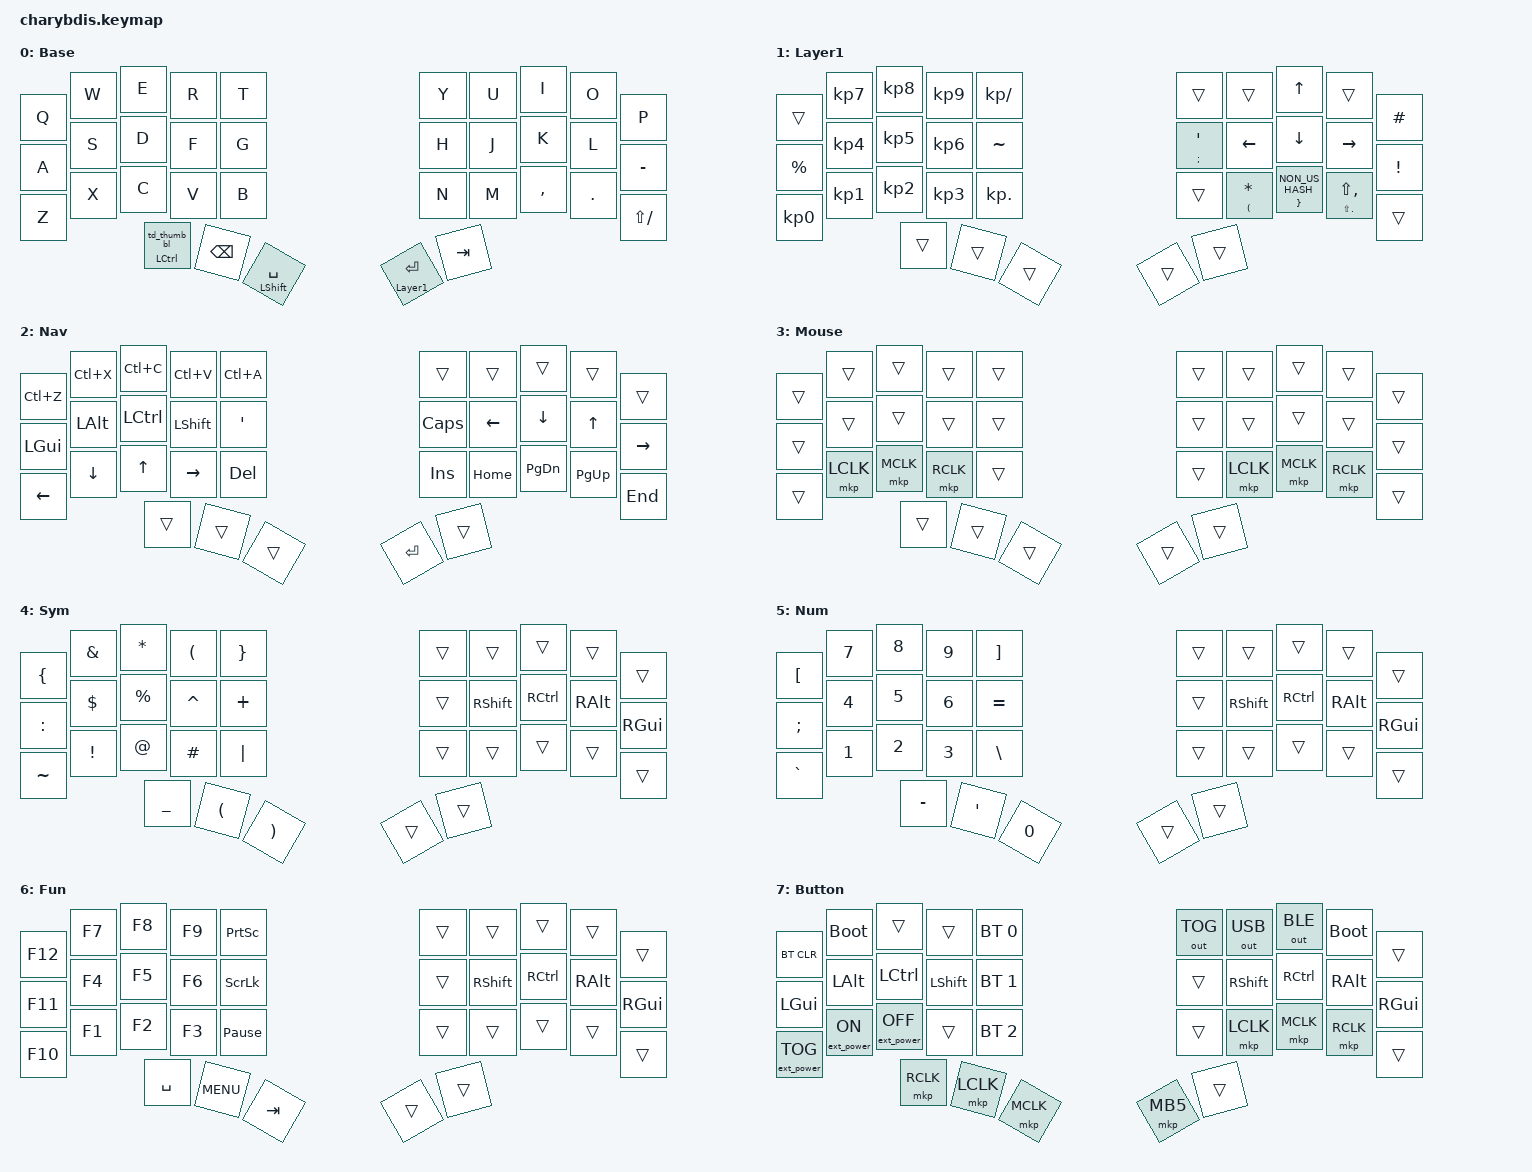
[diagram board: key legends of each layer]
#include <behaviors.dtsi>
#include <dt-bindings/zmk/keys.h>
#include <dt-bindings/zmk/bt.h>
#include <dt-bindings/zmk/ext_power.h>
#include <dt-bindings/zmk/mouse.h>
#include <dt-bindings/zmk/outputs.h>
#include <input/processors.dtsi>
#include <dt-bindings/zmk/input_transform.h>

#define Base 0
#define Layer1 1
#define Nav 2
#define Mouse 3
#define Sym 4
#define Num 5
#define Fun 6
#define Button 7

&trackball_listener {
        snipe {
            layers = <Mouse>;
            input-processors = <&zip_xy_scaler 1 3>;
        };

        scroll {
            layers = <Nav>;
            input-processors = <&zip_xy_scaler 1 150>, <&zip_xy_to_scroll_mapper>, <&zip_scroll_transform (INPUT_TRANSFORM_Y_INVERT)>;
        };
};

/ {
    behaviors {
        hm: homerow_mods {
            compatible = "zmk,behavior-hold-tap";
            #binding-cells = <2>;
            flavor = "tap-preferred";
            tapping-term-ms = <240>;
            quick-tap-ms = <150>;
            bindings =
                <&kp>,
                <&kp>;
        };

        td_thumb_bl: tap_dance_thumb_bl {
            compatible = "zmk,behavior-tap-dance";
            #binding-cells = <0>;
            tapping-term-ms = <350>;
            bindings = <&kp LC(SPACE)>, <&kp LC(ENTER)>;
        };

        htd_thumb_bl: hold_tap_dance_thumb_bl {
            compatible = "zmk,behavior-hold-tap";
            #binding-cells = <2>;
            flavor = "tap-preferred";
            tapping-term-ms = <240>;
            quick-tap-ms = <150>;
            bindings =
                <&kp>,
                <&td_thumb_bl>;
        };

        lt: layer_tap {
            compatible = "zmk,behavior-hold-tap";
            #binding-cells = <2>;
            flavor = "balanced";
            tapping-term-ms = <240>;
            quick-tap-ms = <150>;
            bindings =
                <&mo>,
                <&kp>;
        };
    };

chosen {
    zmk,physical-layout = &charybdis_5col_layout;
};

combos {
        compatible = "zmk,combos";
        timeout-ms = <50>;

        combo_left_click {
            key-positions = <16 17>;
            bindings = <&mkp LCLK>;
        };

        combo_right_click {
            key-positions = <17 18>;
            bindings = <&mkp RCLK>;
        };

        combo_middle_click {
            key-positions = <16 18>;
            bindings = <&mkp MCLK>;
        };

        combo_scroll {
            key-positions = <16 17 18>;
            bindings = <&mo Nav>;
        };

        combo_cut {
            key-positions = <26 27>;
            bindings = <&kp LC(X)>;
        };

        combo_paste {
            key-positions = <27 28>;
            bindings = <&kp LC(V)>;
        };

        combo_copy {
            key-positions = <6 7>;
            bindings = <&kp LC(C)>;
        };

        combo_plus {
            key-positions = <12 13>;
            bindings = <&kp KP_PLUS>;
        };

        combo_minus {
            key-positions = <22 23>;
            bindings = <&kp KP_MINUS>;
        };

        combo_alt_f4 {
            key-positions = <26 27 28>;
            bindings = <&kp LA(F4)>;
        };

        combo_win_tab {
            key-positions = <6 7 8>;
            bindings = <&kp LG(TAB)>;
        };

        combo_bt_clear {
            key-positions = <0 10 20>;
            bindings = <&bt BT_CLR>;
        };

        combo_bt_sel_0 {
            key-positions = <0 1>;
            bindings = <&bt BT_SEL 0>;
        };

        combo_bt_sel_1 {
            key-positions = <10 11>;
            bindings = <&bt BT_SEL 1>;
        };

        combo_bt_sel_2 {
            key-positions = <20 21>;
            bindings = <&bt BT_SEL 2>;
        };
    };
    keymap {
        compatible = "zmk,keymap";

        Base {
            bindings = <
            &kp Q       &kp W       &kp E         &kp R         &kp T                       &kp Y        &kp U        &kp I       &kp O               &kp P
            &kp A  &kp S  &kp D   &kp F  &kp G                       &kp H  &kp J  &kp K  &kp L  &kp MINUS
            &kp Z       &kp X       &kp C         &kp V         &kp B                       &kp N        &kp M    &kp COMMA     &kp DOT         &kp LS(SLASH)
                                    &htd_thumb_bl LCTRL 0  &kp BACKSPACE     &hm LSHFT SPACE       &lt Layer1 ENTER  &kp TAB
            >;
        };

        Layer1 {
            bindings = <
            &trans          &kp KP_N7  &kp KP_N8  &kp KP_N9  &kp KP_SLASH               &trans      &trans     &kp UP    &trans           &kp HASH
            &kp PERCENT     &kp KP_N4  &kp KP_N5  &kp KP_N6  &kp TILDE               &hm SEMICOLON SQT  &kp LEFT  &kp DOWN  &kp RIGHT  &kp EXCL
            &kp KP_N0    &kp KP_N1  &kp KP_N2  &kp KP_N3  &kp KP_DOT                 &trans      &hm LEFT_PARENTHESIS ASTERISK     &hm RIGHT_BRACE NON_US_HASH    &hm LS(DOT) LS(COMMA)    &trans
                                          &trans          &trans      &trans          &trans  &trans
            >;
        };

        Nav {
            bindings = <
            &kp LC(Z)     &kp LC(X)   &kp LC(C)   &kp LC(V)   &kp LC(A)                     &trans     &trans         &trans       &trans       &trans
            &kp LEFT_GUI  &kp LALT    &kp LCTRL   &kp LSHIFT  &kp SQT                     &kp CAPS   &kp LEFT       &kp DOWN       &kp UP    &kp RIGHT
            &kp LEFT      &kp DOWN    &kp UP      &kp RIGHT   &kp DELETE                &kp INSERT   &kp HOME  &kp PAGE_DOWN  &kp PAGE_UP      &kp END
                                      &trans      &trans      &trans                    &kp ENTER  &trans
            >;
        };

        Mouse {
            bindings = <
            &trans    &trans      &trans      &trans      &trans              &trans         &trans     &trans     &trans  &trans
            &trans    &trans      &trans      &trans      &trans              &trans         &trans     &trans     &trans  &trans
            &trans    &mkp LCLK   &mkp MCLK   &mkp RCLK   &trans              &trans      &mkp LCLK  &mkp MCLK  &mkp RCLK  &trans
                                  &trans      &trans      &trans              &trans         &trans
            >;
        };

        Sym {
            bindings = <
            &kp LEFT_BRACE  &kp AMPERSAND  &kp ASTERISK          &kp LEFT_PARENTHESIS   &kp RIGHT_BRACE       &trans      &trans     &trans    &trans    &trans
            &kp COLON       &kp DOLLAR     &kp PERCENT           &kp CARET              &kp PLUS              &trans  &kp RSHIFT  &kp RCTRL  &kp RALT  &kp RGUI
            &kp TILDE       &kp EXCL       &kp AT                &kp HASH               &kp PIPE              &trans      &trans     &trans    &trans    &trans
                                           &kp UNDERSCORE  &kp LEFT_PARENTHESIS  &kp RIGHT_PARENTHESIS        &trans      &trans
            >;
        };

        Num {
            bindings = <
            &kp LEFT_BRACKET  &kp NUMBER_7  &kp NUMBER_8  &kp NUMBER_9  &kp RIGHT_BRACKET       &trans      &trans     &trans    &trans    &trans
            &kp SEMICOLON     &kp NUMBER_4  &kp NUMBER_5  &kp NUMBER_6  &kp EQUAL               &trans  &kp RSHIFT  &kp RCTRL  &kp RALT  &kp RGUI
            &kp GRAVE         &kp NUMBER_1  &kp NUMBER_2  &kp NUMBER_3  &kp BACKSLASH           &trans      &trans     &trans    &trans    &trans
                                            &kp MINUS       &kp SQT  &kp NUMBER_0               &trans      &trans
            >;
        };

        Fun {
            bindings = <
            &kp F12     &kp F7   &kp F8      &kp F9   &kp PRINTSCREEN          &trans      &trans     &trans    &trans    &trans
            &kp F11     &kp F4   &kp F5      &kp F6   &kp SCROLLLOCK           &trans  &kp RSHIFT  &kp RCTRL  &kp RALT  &kp RGUI
            &kp F10     &kp F1   &kp F2      &kp F3   &kp PAUSE_BREAK          &trans      &trans     &trans    &trans    &trans
                                 &kp SPACE  &kp C_MENU  &kp TAB                &trans      &trans
            >;
        };

        Button {
            bindings = <
            &bt BT_CLR            &bootloader         &trans              &trans          &bt BT_SEL 0       &out OUT_TOG  &out OUT_USB   &out OUT_BLE  &bootloader    &trans
            &kp LGUI              &kp LALT            &kp LCTRL           &kp LSHIFT      &bt BT_SEL 1             &trans    &kp RSHIFT      &kp RCTRL     &kp RALT  &kp RGUI
            &ext_power EP_TOG     &ext_power EP_ON    &ext_power EP_OFF   &trans          &bt BT_SEL 2             &trans     &mkp LCLK      &mkp MCLK    &mkp RCLK    &trans
                                                      &mkp RCLK           &mkp LCLK       &mkp MCLK              &mkp MB5      &trans
            >;
        };
    };
};
